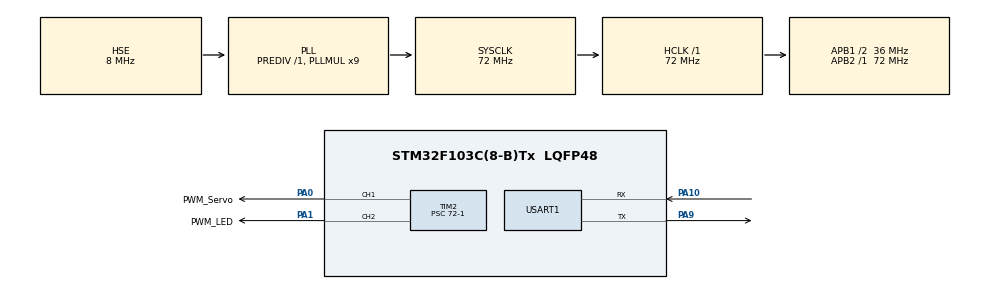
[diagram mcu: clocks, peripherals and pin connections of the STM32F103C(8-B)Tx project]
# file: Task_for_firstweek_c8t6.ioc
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Dma.Request0=USART1_RX
Dma.Request1=USART1_TX
Dma.USART1_RX.0.Direction=DMA_PERIPH_TO_MEMORY
Dma.USART1_RX.0.Instance=DMA1_Channel5
Dma.USART1_RX.0.MemDataAlignment=DMA_MDATAALIGN_BYTE
Dma.USART1_RX.0.MemInc=DMA_MINC_ENABLE
Dma.USART1_RX.0.Mode=DMA_NORMAL
Dma.USART1_RX.0.PeriphDataAlignment=DMA_PDATAALIGN_BYTE
Dma.USART1_RX.0.PeriphInc=DMA_PINC_DISABLE
Dma.USART1_RX.0.Priority=DMA_PRIORITY_LOW
Dma.USART1_TX.1.Direction=DMA_MEMORY_TO_PERIPH
Dma.USART1_TX.1.Instance=DMA1_Channel4
Dma.USART1_TX.1.MemDataAlignment=DMA_MDATAALIGN_BYTE
Dma.USART1_TX.1.MemInc=DMA_MINC_ENABLE
Dma.USART1_TX.1.Mode=DMA_NORMAL
Dma.USART1_TX.1.PeriphDataAlignment=DMA_PDATAALIGN_BYTE
Dma.USART1_TX.1.PeriphInc=DMA_PINC_DISABLE
Dma.USART1_TX.1.Priority=DMA_PRIORITY_LOW
Mcu.Family=STM32F1
Mcu.Name=STM32F103C(8-B)Tx
Mcu.Package=LQFP48
NVIC.DMA1_Channel4_IRQn=true\:0\:0\:false\:false\:true\:false\:true
NVIC.DMA1_Channel5_IRQn=true\:0\:0\:false\:false\:true\:false\:true
NVIC.PriorityGroup=NVIC_PRIORITYGROUP_4
NVIC.USART1_IRQn=true\:0\:0\:false\:false\:true\:true\:true
PA0-WKUP.GPIO_Label=PWM_Servo
PA0-WKUP.Signal=S_TIM2_CH1_ETR
PA1.GPIO_Label=PWM_LED
PA1.Signal=S_TIM2_CH2
PA10.GPIO_PuPd=GPIO_PULLUP
PA10.Mode=Asynchronous
PA10.Signal=USART1_RX
PA13.Mode=Serial_Wire
PA13.Signal=SYS_JTMS-SWDIO
PA14.Mode=Serial_Wire
PA14.Signal=SYS_JTCK-SWCLK
PA9.Mode=Asynchronous
PA9.Signal=USART1_TX
PC14-OSC32_IN.Mode=LSE-External-Oscillator
PC14-OSC32_IN.Signal=RCC_OSC32_IN
PC15-OSC32_OUT.Mode=LSE-External-Oscillator
PC15-OSC32_OUT.Signal=RCC_OSC32_OUT
PD0-OSC_IN.Mode=HSE-External-Oscillator
PD0-OSC_IN.Signal=RCC_OSC_IN
PD1-OSC_OUT.Mode=HSE-External-Oscillator
PD1-OSC_OUT.Signal=RCC_OSC_OUT
ProjectManager.HeapSize=0x200
ProjectManager.StackSize=0x400
ProjectManager.TargetToolchain=MDK-ARM V5.32
RCC.AHBFreq_Value=72000000
RCC.APB1CLKDivider=RCC_HCLK_DIV2
RCC.APB1Freq_Value=36000000
RCC.APB1TimFreq_Value=72000000
RCC.APB2Freq_Value=72000000
RCC.APB2TimFreq_Value=72000000
RCC.HCLKFreq_Value=72000000
RCC.PLLMUL=RCC_PLL_MUL9
RCC.PLLSourceVirtual=RCC_PLLSOURCE_HSE
RCC.SYSCLKFreq_VALUE=72000000
RCC.SYSCLKSource=RCC_SYSCLKSOURCE_PLLCLK
RCC.USBFreq_Value=72000000
SH.S_TIM2_CH1_ETR.0=TIM2_CH1,PWM Generation1 CH1
SH.S_TIM2_CH2.0=TIM2_CH2,PWM Generation2 CH2
TIM2.Channel-PWM\ Generation1\ CH1=TIM_CHANNEL_1
TIM2.Channel-PWM\ Generation2\ CH2=TIM_CHANNEL_2
TIM2.Period=20000-1
TIM2.Prescaler=72-1
TIM2.Pulse-PWM\ Generation1\ CH1=0
USART1.VirtualMode=VM_ASYNC
board=custom

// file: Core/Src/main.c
/* USER CODE BEGIN Header */
/**
  ******************************************************************************
  * @file           : main.c
  * @brief          : Main program body
  ******************************************************************************
  * @attention
  *
  * <h2><center>&copy; Copyright (c) 2024 STMicroelectronics.
  * All rights reserved.</center></h2>
  *
  * This software component is licensed by ST under BSD 3-Clause license,
  * the "License"; You may not use this file except in compliance with the
  * License. You may obtain a copy of the License at:
  *                        opensource.org/licenses/BSD-3-Clause
  *
  ******************************************************************************
  */
/* USER CODE END Header */
#include "main.h"
#include "dma.h"
#include "tim.h"
#include "usart.h"
#include "gpio.h"

/* USER CODE BEGIN Includes */
#include "servo.h"

/* USER CODE END Includes */

/* USER CODE BEGIN PV */

 xUSATR_TypeDef xUSART1={0}; //管理串口接收
 uint8_t Max_luminance=100; //呼吸灯最大亮度
 float Servo_Angle=0;       //舵机角度

/* USER CODE END PV */

void SystemClock_Config(void);

int main(void)
{

  /* MCU Configuration--------------------------------------------------------*/

  /* Reset of all peripherals, Initializes the Flash interface and the Systick. */
  HAL_Init();

  /* Configure the system clock */
  SystemClock_Config();

  /* Initialize all configured peripherals */
  MX_GPIO_Init();
  MX_DMA_Init();
  MX_TIM2_Init();
  MX_USART1_UART_Init();
  /* USER CODE BEGIN 2 */

  HAL_TIM_Base_Start(&htim2);    //开启时基，cubeMX初始化并不会开启定时器，需要我们手动打开使能定时器
	HAL_TIM_PWM_Start(&htim2,TIM_CHANNEL_1);//开启定时器2的PWM通道1的输出
	HAL_TIM_PWM_Start(&htim2,TIM_CHANNEL_2);//开启定时器2的PWM通道2的输出

	HAL_UARTEx_ReceiveToIdle_DMA(&huart1, xUSART1.BuffTemp, sizeof(xUSART1.BuffTemp));    //开启DMA接收完成中断，串口空闲中断

  /* USER CODE END 2 */

  /* Infinite loop */
  /* USER CODE BEGIN WHILE */
  while (1)
  {
		if(xUSART1.ReceiveNum>0)//接收到了数据，解析
		{

		   xUSART1.ReceiveNum = 0;
		}
		Breathing_LED(Max_luminance);

    /* USER CODE END WHILE */

  }
}

void SystemClock_Config(void)
{
  RCC_OscInitTypeDef RCC_OscInitStruct = {0};
  RCC_ClkInitTypeDef RCC_ClkInitStruct = {0};

  /** Initializes the RCC Oscillators according to the specified parameters
  * in the RCC_OscInitTypeDef structure.
  */
  RCC_OscInitStruct.OscillatorType = RCC_OSCILLATORTYPE_HSE;
  RCC_OscInitStruct.HSEState = RCC_HSE_ON;
  RCC_OscInitStruct.HSEPredivValue = RCC_HSE_PREDIV_DIV1;
  RCC_OscInitStruct.HSIState = RCC_HSI_ON;
  RCC_OscInitStruct.PLL.PLLState = RCC_PLL_ON;
  RCC_OscInitStruct.PLL.PLLSource = RCC_PLLSOURCE_HSE;
  RCC_OscInitStruct.PLL.PLLMUL = RCC_PLL_MUL9;
  if (HAL_RCC_OscConfig(&RCC_OscInitStruct) != HAL_OK)
  {
    Error_Handler();
  }
  /** Initializes the CPU, AHB and APB buses clocks
  */
  RCC_ClkInitStruct.ClockType = RCC_CLOCKTYPE_HCLK|RCC_CLOCKTYPE_SYSCLK
                              |RCC_CLOCKTYPE_PCLK1|RCC_CLOCKTYPE_PCLK2;
  RCC_ClkInitStruct.SYSCLKSource = RCC_SYSCLKSOURCE_PLLCLK;
  RCC_ClkInitStruct.AHBCLKDivider = RCC_SYSCLK_DIV1;
  RCC_ClkInitStruct.APB1CLKDivider = RCC_HCLK_DIV2;
  RCC_ClkInitStruct.APB2CLKDivider = RCC_HCLK_DIV1;

  if (HAL_RCC_ClockConfig(&RCC_ClkInitStruct, FLASH_LATENCY_2) != HAL_OK)
  {
    Error_Handler();
  }
}

/* USER CODE BEGIN 4 */

void Breathing_LED (uint8_t Max_luminance )
{
	for(int i=0;i<100;i++)
	{
		SetPWMDuty(&htim2,TIM_CHANNEL_2,i*Max_luminance/100.0);
		HAL_Delay(10);
	}

	for(int i=0;i<100;i++)
	{
		SetPWMDuty(&htim2,TIM_CHANNEL_2,Max_luminance-i*Max_luminance/100.0);
		HAL_Delay(10);
	}
}

/* USER CODE END 4 */

void Error_Handler(void)
{
  __disable_irq();
  while (1)
  {
  }
}

/************************ (C) COPYRIGHT STMicroelectronics *****END OF FILE****/
